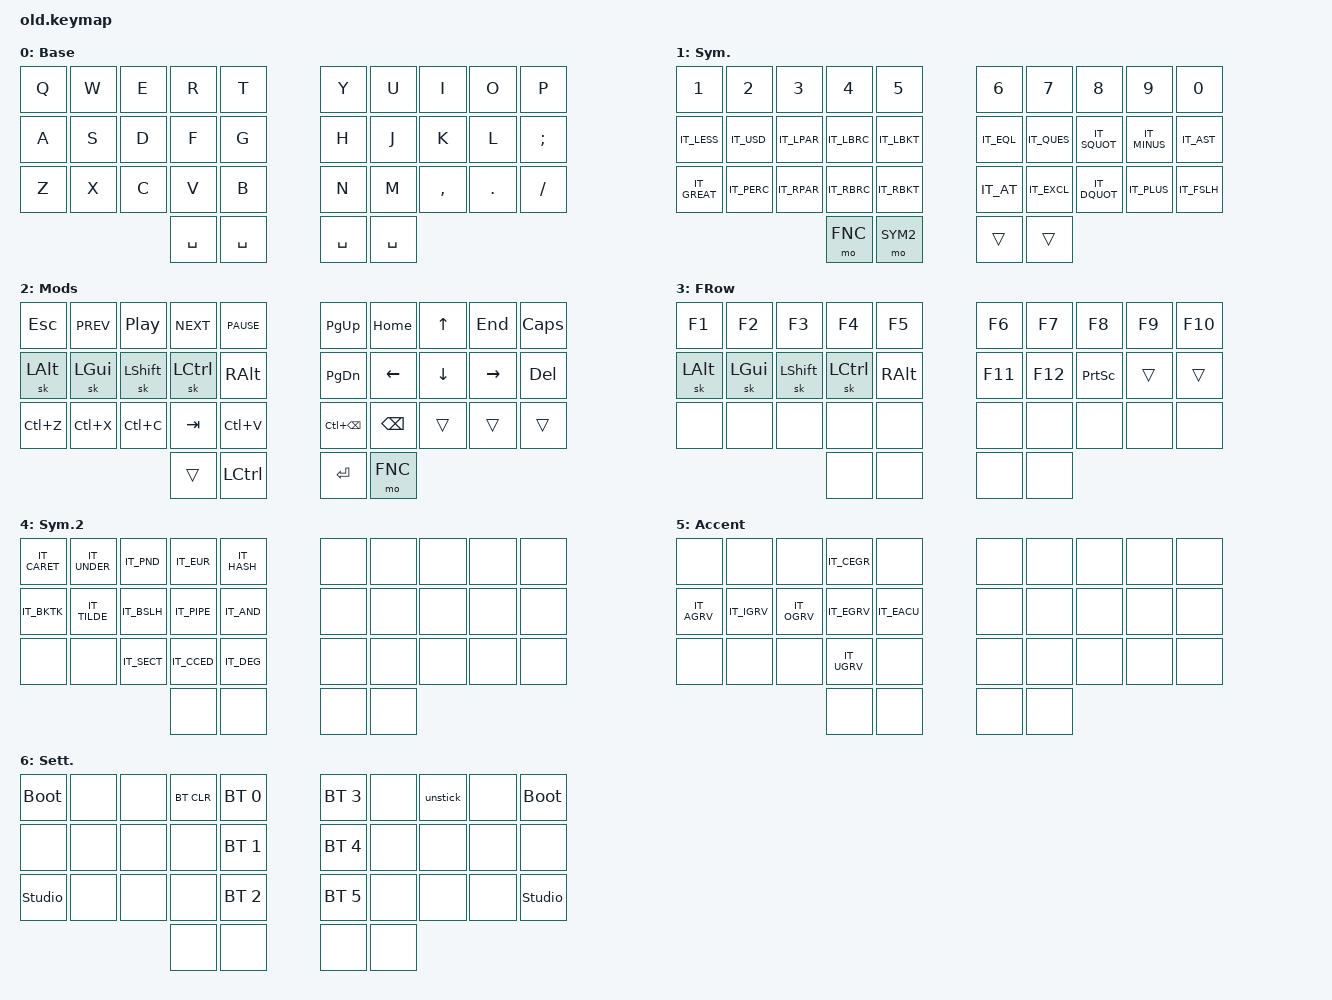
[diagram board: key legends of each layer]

/ {
	behaviors {
		// Enables holding the first mod-tap key
		// by performing a tap-release-hold sequence.
		// To use it: "&qt KEYCODE1 KEYCODE2"
		qt: quick_tap {
			compatible = "zmk,behavior-hold-tap";
			label = "QUICK_TAP";
			#binding-cells = <2>;
			flavor = "hold-preferred";
			tapping-term-ms = <200>;
			quick-tap-ms = <200>;
			bindings = <&kp>, <&kp>;
		};
	};


	macros {
		// sometimes my device thinks a modifier is being held down
		// pressing all modifiers fixes it.
		unstick: unstick {
			label = "ZM_unstick";
			compatible = "zmk,behavior-macro";
			#binding-cells = <0>;
			bindings = <&kp LSHIFT &kp RSHIFT &kp LCTRL &kp RCTRL &kp LALT &kp RALT &kp LGUI &kp RGUI>;

		};
	};


 /* combo_bindings, keypos, combo_layers, combo_timeout, combo_idle, combo_vaargs) \ */
 /* &hml LS(LALT)TAB, LM3 LM2, DEF NAV NUM, COMBO_TERM_FAST, COMBO_IDLE_FAST) */
  combos {
    compatible = "zmk,combos";
    combo_tab {
      timeout-ms = <COMBO_TERM_FAST>;
      bindings = <&kp A>;
      key-positions = <LM2 LM1>;
      layers = <BASE>;
      require-prior-idle-ms = <COMBO_IDLE_FAST>;
    };
  };

	/* combos { */
	/* 	compatible = "zmk,combos"; */
	/* 	// both right thumb keys */
	/* 	combo_accent { */
	/* 		timeout-ms = <200>; */
	/* 		key-positions = <32 33>; */
	/* 		bindings = <&mo SETTINGS>; */
	/* 	}; */
	/* 	// internal-left & external-right thumb keys */
	/* 	// combo_sym2 { */
	/* 	// 	timeout-ms = <200>; */
	/* 	// 	key-positions = <31 33>; */
	/* 	// 	bindings = <&mo SYM2>; */
	/* 	// }; */
	/* 	// // both left thumb keys */
	/* 	// combo_settings { */
	/* 	// 	timeout-ms = <200>; */
	/* 	// 	key-positions = <30 31>; */
	/* 	// 	bindings = <&mo SETTINGS>; */
	/* 	// }; */
	/* 	// // left index & middle fingers (home-row) */
	/* 	// // hold control & space for Adobe workflow */
	/* 	// combo_ctrl_space { */
	/* 	// 	timeout-ms = <200>; */
	/* 	// 	key-positions = <12 13>; */
	/* 	// 	bindings = <&kp LC(SPACE)>; */
	/* 	// 	layers = <BASE>; */
	/* 	// }; */
	/* }; */

/*   ZMK_LAYER(default_layer, */
/*      // ╭─────────────┬─────────────┬─────────────┬─────────────┬─────────────╮   ╭─────────────┬─────────────┬─────────────┬─────────────┬─────────────╮ */
/*           &kp Q         &kp W         &kp F         &kp P         &kp B             &kp J         &kp L         &kp U         &kp Y         &kp SQT */
/*      // ├─────────────┼─────────────┼─────────────┼─────────────┼─────────────┤   ├─────────────┼─────────────┼─────────────┼─────────────┼─────────────┤ */
/*           &hml LGUI A   &hml LALT R   &hml LCTRL S  &hml LSHFT T  &kp G             &kp M         &hmr RSHFT N  &hmr LCTRL E  &hmr LALT I   &hmr LGUI O */
/*      // ├─────────────┼─────────────┼─────────────┼─────────────┼─────────────┤   ├─────────────┼─────────────┼─────────────┼─────────────┼─────────────┤ */
/*           &kp Z         &kp X         &kp C         &kp D         &kp V             &kp K         &kp H         &kp COMMA     &kp DOT       &kp SEMI */
/*      // ╰─────────────────────────────────────────┼─────────────┼─────────────┤   ├─────────────┼─────────────┼─────────────────────────────────────────╯ */
/*                                                     &lt NAV SPACE &kp RET           &bs_del_num   &sk LSHFT */
/*      //                                           ╰─────────────┴─────────────╯   ╰─────────────┴─────────────╯ */
/* ) */

	keymap {
		compatible = "zmk,keymap";
		// Base alpha layer
		default_layer {
			label = "Base";
			bindings = <
			&kp Q &kp W &kp E &kp R &kp T           &kp Y &kp U  &kp I     &kp O   &kp P
			&kp A &kp S &kp D &kp F &kp G           &kp H &kp J  &kp K     &kp L &kp SEMICOLON
			&kp Z &kp X &kp C &kp V &kp B           &kp N &kp M  &kp COMMA &kp DOT &kp SLASH
							&kp SPACE &kp SPACE           &kp SPACE &kp SPACE
			>;
		};

		// Numbers and high frequency symbols
		sym_layer {
			label = "Sym.";
			bindings = <
			&kp N1 &kp N2 &kp N3 &kp N4 &kp N5		                                    &kp N6 &kp N7 &kp N8 &kp N9 &kp N0
			&kp IT_LESS &kp IT_USD &kp IT_LPAR &kp IT_LBRC &kp IT_LBKT  &kp IT_EQL &kp IT_QUES &kp IT_SQUOT &kp IT_MINUS &kp IT_AST
			&kp IT_GREAT &kp IT_PERC &kp IT_RPAR &kp IT_RBRC &kp IT_RBKT 	&kp IT_AT &kp IT_EXCL &kp IT_DQUOT &kp IT_PLUS &kp IT_FSLH
														&mo FNC  &mo SYM2       &trans &trans
			>;
		};

		// Main modifiers and arrow keys
		ext_layer {
			label = "Mods";
			bindings = <
			&kp ESC  &kp C_PREV &kp C_PP  &kp C_NEXT  &kp C_PAUSE    	&kp PG_UP  &kp HOME &kp UP &kp END &kp CAPS
			&sk LALT &sk LGUI  &sk LSHIFT  &sk LCTRL  &kp RALT 			&kp PG_DN &kp LEFT  &kp DOWN  &kp RIGHT   &kp DEL
			&kp LC(Z)  &kp LC(X) &kp LC(C) &kp TAB   &kp LC(V)          &kp LC(BSPC) &kp BSPC &trans &trans  &trans
																		&trans &kp LCTRL    &kp ENTER  &mo FNC
			>;
		};

		// Function keys with modifiers
		fnc_layer {
			label = "FRow";
			bindings = <
			&kp F1 &kp F2 &kp F3 &kp F4 &kp F5                  &kp F6 &kp F7 &kp F8 &kp F9 &kp F10
			&sk LALT &sk LGUI &sk LSHIFT &sk LCTRL &kp RALT     &kp F11 &kp F12  &kp PRINTSCREEN &trans &trans
			&none &none &none &none &none				          &none &none &none &none &none
							  &none &none              &none &none
			>;
		};

		// Low frequency symbols.
		symbols_2_layer {
			label = "Sym.2";
			bindings = <
			&kp IT_CARET &kp IT_UNDER &kp IT_PND &kp IT_EUR &kp IT_HASH         &none &none &none &none &none
			&kp IT_BKTK &kp IT_TILDE &kp IT_BSLH &kp IT_PIPE &kp IT_AND         &none &none &none &none &none
			&none 			&none 			 &kp IT_SECT &kp IT_CCED &kp IT_DEG				  &none &none &none &none &none
																	&none &none        	&none &none
			>;
		};

		// Used to type regional accents.
		accent_layer {
			label = "Accent";
			bindings = <
			&none &none &none &kp IT_CEGR &none                         &none &none &none &none &none
			&kp IT_AGRV &kp IT_IGRV &kp IT_OGRV &kp IT_EGRV &kp IT_EACU &none &none &none &none &none
			&none &none &none &kp IT_UGRV &none                         &none &none &none &none &none
									&none &none                         &none &none
			>;
		};

		// Used to change the keyboard's settings.
		settings_layer {
				label = "Sett.";
				bindings = <
				&bootloader &none &none &bt BT_CLR &bt BT_SEL 0               &bt BT_SEL 3 &none &unstick &none &bootloader
				&none &none &none &none      &bt BT_SEL 1 						  &bt BT_SEL 4 &none &none &none &none
				&studio_unlock &none &none &none      &bt BT_SEL 2               &bt BT_SEL 5 &none &none &none &studio_unlock
										&none &none                         &none &none
				>;
		};
	};
};
